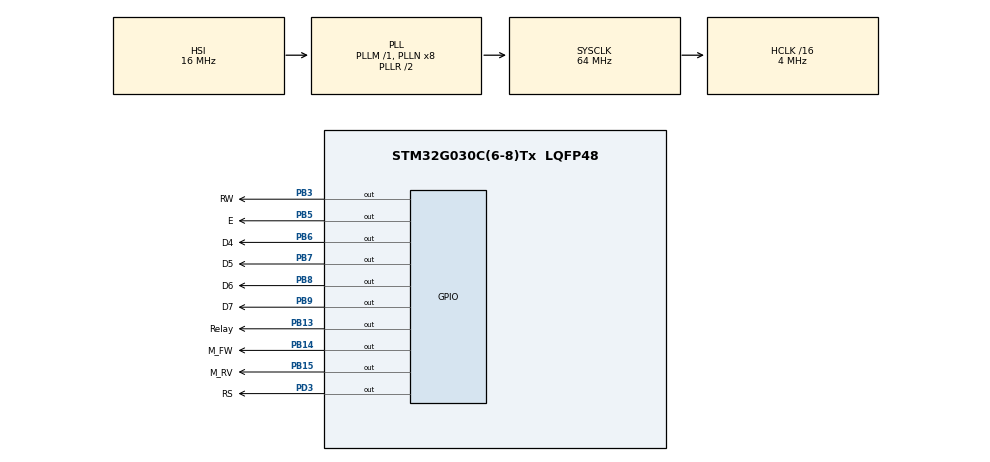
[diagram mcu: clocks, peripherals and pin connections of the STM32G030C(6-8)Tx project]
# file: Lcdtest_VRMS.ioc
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ADC1.Channel-4\#ChannelRegularConversion=ADC_CHANNEL_VBAT
ADC1.NbrOfConversionFlag=1
ADC1.Rank-4\#ChannelRegularConversion=1
ADC1.SamplingTime-4\#ChannelRegularConversion=ADC_SAMPLINGTIME_COMMON_1
ADC1.SamplingTimeCommon1=ADC_SAMPLETIME_19CYCLES_5
ADC1.SelectedChannel=ADC_CHANNEL_VBAT
ADC1.master=1
Mcu.Family=STM32G0
Mcu.Name=STM32G030C(6-8)Tx
Mcu.Package=LQFP48
PA13.Mode=Serial_Wire
PA13.Signal=SYS_SWDIO
PA14-BOOT0.Mode=Serial_Wire
PA14-BOOT0.Signal=SYS_SWCLK
PB13.GPIO_Label=Relay
PB13.GPIO_PuPd=GPIO_PULLDOWN
PB13.Signal=GPIO_Output
PB14.GPIO_Label=M_FW
PB14.GPIO_PuPd=GPIO_PULLDOWN
PB14.Signal=GPIO_Output
PB15.GPIO_Label=M_RV
PB15.GPIO_PuPd=GPIO_PULLDOWN
PB15.Signal=GPIO_Output
PB3.GPIO_Label=RW
PB3.Signal=GPIO_Output
PB5.GPIO_Label=E
PB5.Signal=GPIO_Output
PB6.GPIO_Label=D4
PB6.Signal=GPIO_Output
PB7.GPIO_Label=D5
PB7.Signal=GPIO_Output
PB8.GPIO_Label=D6
PB8.Signal=GPIO_Output
PB9.GPIO_Label=D7
PB9.Signal=GPIO_Output
PD3.GPIO_Label=RS
PD3.Signal=GPIO_Output
ProjectManager.HeapSize=0x200
ProjectManager.StackSize=0x400
ProjectManager.TargetToolchain=STM32CubeIDE
RCC.ADCFreq_Value=64000000
RCC.AHBCLKDivider=RCC_SYSCLK_DIV16
RCC.AHBFreq_Value=4000000
RCC.CortexFreq_Value=4000000
RCC.EXTERNAL_CLOCK_VALUE=12288000
RCC.HCLKFreq_Value=4000000
RCC.HSE_VALUE=8000000
RCC.HSI_VALUE=16000000
RCC.LSE_VALUE=32768
RCC.SYSCLKFreq_VALUE=64000000
RCC.SYSCLKSource=RCC_SYSCLKSOURCE_PLLCLK
RCC.VCOOutputFreq_Value=128000000
TIM1.Prescaler=64-1
VP_ADC1_Vbat_Input.Mode=IN-Vbat
VP_TIM1_VS_ClockSourceINT.Mode=Internal
board=custom

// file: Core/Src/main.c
/* USER CODE BEGIN Header */
/**
  ******************************************************************************
  * @file           : main.c
  * @brief          : Main program body
  ******************************************************************************
  * @attention
  *
  * Copyright (c) 2023 STMicroelectronics.
  * All rights reserved.
  *
  * This software is licensed under terms that can be found in the LICENSE file
  * in the root directory of this software component.
  * If no LICENSE file comes with this software, it is provided AS-IS.
  *
  ******************************************************************************
  */
/* USER CODE END Header */
#include "main.h"

/* USER CODE BEGIN Includes */
#include"lcd1.h"
/* USER CODE END Includes */

/* USER CODE BEGIN PTD */
//VRMS
#define fact_val 3
#define fact_val_addr *((uint16_t*)0x1FFF75AA)
#define Reso 4095
#define no_of_samples 300
#define DMA_Time_Out 100
#define NumOfADCChan 3
#define EachChanSample 100

/* USER CODE END PTD */

ADC_HandleTypeDef hadc1;

TIM_HandleTypeDef htim1;

/* USER CODE BEGIN PV */

//VRMS
typedef enum
{
	Fun_Ok, //Represents FADC status that it is OK
	Fun_Error, //Represents FADC Error
	Fun_Timeout //Represents that FADC is timed out
}Fun_Status;
typedef enum
{
	ADC_DMA_Init,
	ADC_DMA_Started,
	ADC_DMA_Completed
}ADC_DMA_Status;

typedef struct{
	float Vref;
	float K;
	float DCoffset;
	ADC_DMA_Status StatusDMA;
	ADC_HandleTypeDef* HADC;
	uint16_t ADC_DMA_Sample[NumOfADCChan*EachChanSample];
}ADCPar;

//G Variables
ADCPar ADCVar;
/* USER CODE END PV */

void SystemClock_Config(void);
static void MX_GPIO_Init(void);
static void MX_TIM1_Init(void);
static void MX_ADC1_Init(void);

/* USER CODE BEGIN 0 */
void Vrefint_init(ADC_HandleTypeDef* HADC)
{

  /* USER CODE BEGIN ADC1_Init 0 */

  /* USER CODE END ADC1_Init 0 */

  ADC_ChannelConfTypeDef sConfig = {0};

  /* USER CODE BEGIN ADC1_Init 1 */

  /* USER CODE END ADC1_Init 1 */

  /** Configure the global features of the ADC (Clock, Resolution, Data Alignment and number of conversion)
  */
  HADC->Instance = ADC1;
  HADC->Init.ClockPrescaler = ADC_CLOCK_SYNC_PCLK_DIV2;
  HADC->Init.Resolution = ADC_RESOLUTION_12B;
  HADC->Init.DataAlign = ADC_DATAALIGN_RIGHT;
  HADC->Init.ScanConvMode = ADC_SCAN_DISABLE;
  HADC->Init.EOCSelection = ADC_EOC_SINGLE_CONV;
  HADC->Init.LowPowerAutoWait = DISABLE;
  HADC->Init.LowPowerAutoPowerOff = DISABLE;
  HADC->Init.ContinuousConvMode = DISABLE;
  HADC->Init.NbrOfConversion = 1;
  HADC->Init.DiscontinuousConvMode = DISABLE;
  HADC->Init.ExternalTrigConv = ADC_SOFTWARE_START;
  HADC->Init.ExternalTrigConvEdge = ADC_EXTERNALTRIGCONVEDGE_NONE;
  HADC->Init.DMAContinuousRequests = DISABLE;
  HADC->Init.Overrun = ADC_OVR_DATA_PRESERVED;
  HADC->Init.SamplingTimeCommon1 = ADC_SAMPLETIME_1CYCLE_5;
  HADC->Init.SamplingTimeCommon2 = ADC_SAMPLETIME_1CYCLE_5;
  HADC->Init.OversamplingMode = DISABLE;
  HADC->Init.TriggerFrequencyMode = ADC_TRIGGER_FREQ_HIGH;
  if (HAL_ADC_Init(&hadc1) != HAL_OK)
  {

  }

  /** Configure Regular Channel
  */
  sConfig.Channel = ADC_CHANNEL_VREFINT;
  sConfig.Rank = ADC_REGULAR_RANK_1;
  sConfig.SamplingTime = ADC_SAMPLINGTIME_COMMON_1;
  if (HAL_ADC_ConfigChannel(&hadc1, &sConfig) != HAL_OK)
  {

  }
  /* USER CODE BEGIN ADC1_Init 2 */

  /* USER CODE END ADC1_Init 2 */

}

Fun_Status GetVref(ADCPar * ADCValues)
{
//	  Vrefint_init(ADCValues->HADC);
	MX_ADC1_Init();
	  if(HAL_ADC_Start(ADCValues->HADC) != HAL_OK)
	  {
		return Fun_Error;
	  }
	  if(HAL_ADC_PollForConversion(ADCValues->HADC, HAL_MAX_DELAY) != HAL_OK)
	  {
		  return Fun_Error;
	  }
	  ADCValues->Vref = HAL_ADC_GetValue(ADCValues->HADC);
	  if(HAL_ADC_Stop(ADCValues->HADC) != HAL_OK)
	  {
		  return Fun_Error;
	  }
	  ADCValues->Vref =(fact_val * fact_val_addr)/ADCValues->Vref;
	  ADCValues->K=ADCValues->Vref/Reso;
	  //3 channel init
	  MX_ADC1_Init();
	  return Fun_Ok;
}
//

/* USER CODE END 0 */

int main(void)
{

  /* MCU Configuration--------------------------------------------------------*/

  /* Reset of all peripherals, Initializes the Flash interface and the Systick. */
  HAL_Init();

  /* Configure the system clock */
  SystemClock_Config();

  /* Initialize all configured peripherals */
  MX_GPIO_Init();
  MX_TIM1_Init();
  MX_ADC1_Init();
  /* USER CODE BEGIN 2 */
  //VRMS Setting the value for VRMS Variables
//  ADCVar.HADC = &hadc1;
  HAL_Delay(10);
  HAL_ADCEx_Calibration_Start(&hadc1);
  HAL_Delay(10);
  LCD_Init();
//  GetVref(&ADCVar);
  if(HAL_ADC_Start(&hadc1) != HAL_OK)
  {
	return Fun_Error;
  }
  if(HAL_ADC_PollForConversion(&hadc1, HAL_MAX_DELAY) != HAL_OK)
  {
	  return Fun_Error;
  }
  ADCVar.Vref = HAL_ADC_GetValue(&hadc1);
  if(HAL_ADC_Stop(&hadc1) != HAL_OK)
  {
	  return Fun_Error;
  }
  ADCVar.Vref =(1.2f * Reso)/ADCVar.Vref;
//  ADCVar.K=(ADCVar.Vref)/Reso;
//
  LCD_Clear();
//  LCD_SetCursor(0, 0);
//  LCD_Print("Hello, STM32!");

//HAL_GPIO_WritePin(M_RV_GPIO_Port, M_RV_Pin, GPIO_PIN_RESET);
//HAL_GPIO_WritePin(M_FW_GPIO_Port, M_FW_Pin, GPIO_PIN_SET);
//  HAL_GPIO_WritePin(M_RV_GPIO_Port, M_RV_Pin, GPIO_PIN_SET);
  /* USER CODE END 2 */

  /* Infinite loop */
  while (1)
  {

    /* USER CODE BEGIN 3 */
	  HAL_GPIO_WritePin(GPIOB, GPIO_PIN_9, GPIO_PIN_RESET);
	  HAL_GPIO_WritePin(M_RV_GPIO_Port, M_RV_Pin, GPIO_PIN_RESET);
	  HAL_GPIO_WritePin(M_FW_GPIO_Port, M_FW_Pin, GPIO_PIN_SET);
	  //HAL_GPIO_TogglePin(Relay_GPIO_Port, Relay_Pin);
	  LCD_Clear();
	  LCD_SetCursor(0, 0);
	  LCD_Print("Hello, STM32!");
	  LCD_SetCursor(1, 0);
	  LCD_Printf("Vrf_= %d",(uint8_t)(ADCVar.Vref*10));
	  HAL_Delay(5000);
//	  for(uint32_t id =0;id<=20000;id++)
//	  {
//
//	  }
	  HAL_GPIO_WritePin(GPIOB, GPIO_PIN_9, GPIO_PIN_SET);
	  HAL_GPIO_WritePin(M_RV_GPIO_Port, M_RV_Pin, GPIO_PIN_SET);
	  HAL_GPIO_WritePin(M_FW_GPIO_Port, M_FW_Pin, GPIO_PIN_RESET);
	  for(uint32_t id =0;id<=20000;id++)
	  {

	  }
	  HAL_GPIO_TogglePin(Relay_GPIO_Port, Relay_Pin);
	  LCD_Clear();
	  LCD_SetCursor(0, 0);
	  LCD_Print("_!@#$%^^&*)_");
	  LCD_SetCursor(1, 0);
	  LCD_Print("_+&%#@&_");
	  HAL_Delay(5000);

  }
  /* USER CODE END 3 */
}

void SystemClock_Config(void)
{
  RCC_OscInitTypeDef RCC_OscInitStruct = {0};
  RCC_ClkInitTypeDef RCC_ClkInitStruct = {0};

  /** Configure the main internal regulator output voltage
  */
  HAL_PWREx_ControlVoltageScaling(PWR_REGULATOR_VOLTAGE_SCALE1);

  /** Initializes the RCC Oscillators according to the specified parameters
  * in the RCC_OscInitTypeDef structure.
  */
  RCC_OscInitStruct.OscillatorType = RCC_OSCILLATORTYPE_HSI;
  RCC_OscInitStruct.HSIState = RCC_HSI_ON;
  RCC_OscInitStruct.HSIDiv = RCC_HSI_DIV1;
  RCC_OscInitStruct.HSICalibrationValue = RCC_HSICALIBRATION_DEFAULT;
  RCC_OscInitStruct.PLL.PLLState = RCC_PLL_ON;
  RCC_OscInitStruct.PLL.PLLSource = RCC_PLLSOURCE_HSI;
  RCC_OscInitStruct.PLL.PLLM = RCC_PLLM_DIV1;
  RCC_OscInitStruct.PLL.PLLN = 8;
  RCC_OscInitStruct.PLL.PLLP = RCC_PLLP_DIV2;
  RCC_OscInitStruct.PLL.PLLR = RCC_PLLR_DIV2;
  if (HAL_RCC_OscConfig(&RCC_OscInitStruct) != HAL_OK)
  {
    Error_Handler();
  }

  /** Initializes the CPU, AHB and APB buses clocks
  */
  RCC_ClkInitStruct.ClockType = RCC_CLOCKTYPE_HCLK|RCC_CLOCKTYPE_SYSCLK
                              |RCC_CLOCKTYPE_PCLK1;
  RCC_ClkInitStruct.SYSCLKSource = RCC_SYSCLKSOURCE_PLLCLK;
  RCC_ClkInitStruct.AHBCLKDivider = RCC_SYSCLK_DIV16;
  RCC_ClkInitStruct.APB1CLKDivider = RCC_HCLK_DIV1;

  if (HAL_RCC_ClockConfig(&RCC_ClkInitStruct, FLASH_LATENCY_0) != HAL_OK)
  {
    Error_Handler();
  }
}

static void MX_ADC1_Init(void)
{

  ADC_ChannelConfTypeDef sConfig = {0};

  /** Configure the global features of the ADC (Clock, Resolution, Data Alignment and number of conversion)
  */
  hadc1.Instance = ADC1;
  hadc1.Init.ClockPrescaler = ADC_CLOCK_SYNC_PCLK_DIV2;
  hadc1.Init.Resolution = ADC_RESOLUTION_12B;
  hadc1.Init.DataAlign = ADC_DATAALIGN_RIGHT;
  hadc1.Init.ScanConvMode = ADC_SCAN_DISABLE;
  hadc1.Init.EOCSelection = ADC_EOC_SINGLE_CONV;
  hadc1.Init.LowPowerAutoWait = DISABLE;
  hadc1.Init.LowPowerAutoPowerOff = DISABLE;
  hadc1.Init.ContinuousConvMode = DISABLE;
  hadc1.Init.NbrOfConversion = 1;
  hadc1.Init.DiscontinuousConvMode = DISABLE;
  hadc1.Init.ExternalTrigConv = ADC_SOFTWARE_START;
  hadc1.Init.ExternalTrigConvEdge = ADC_EXTERNALTRIGCONVEDGE_NONE;
  hadc1.Init.DMAContinuousRequests = DISABLE;
  hadc1.Init.Overrun = ADC_OVR_DATA_PRESERVED;
  hadc1.Init.SamplingTimeCommon1 = ADC_SAMPLETIME_19CYCLES_5;
  hadc1.Init.SamplingTimeCommon2 = ADC_SAMPLETIME_1CYCLE_5;
  hadc1.Init.OversamplingMode = DISABLE;
  hadc1.Init.TriggerFrequencyMode = ADC_TRIGGER_FREQ_HIGH;
  if (HAL_ADC_Init(&hadc1) != HAL_OK)
  {
    Error_Handler();
  }

  /** Configure Regular Channel
  */
  sConfig.Channel = ADC_CHANNEL_VBAT;
  sConfig.Rank = ADC_REGULAR_RANK_1;
  sConfig.SamplingTime = ADC_SAMPLINGTIME_COMMON_1;
  if (HAL_ADC_ConfigChannel(&hadc1, &sConfig) != HAL_OK)
  {
    Error_Handler();
  }

}

static void MX_TIM1_Init(void)
{

  TIM_ClockConfigTypeDef sClockSourceConfig = {0};
  TIM_MasterConfigTypeDef sMasterConfig = {0};

  htim1.Instance = TIM1;
  htim1.Init.Prescaler = 64-1;
  htim1.Init.CounterMode = TIM_COUNTERMODE_UP;
  htim1.Init.Period = 65535;
  htim1.Init.ClockDivision = TIM_CLOCKDIVISION_DIV1;
  htim1.Init.RepetitionCounter = 0;
  htim1.Init.AutoReloadPreload = TIM_AUTORELOAD_PRELOAD_DISABLE;
  if (HAL_TIM_Base_Init(&htim1) != HAL_OK)
  {
    Error_Handler();
  }
  sClockSourceConfig.ClockSource = TIM_CLOCKSOURCE_INTERNAL;
  if (HAL_TIM_ConfigClockSource(&htim1, &sClockSourceConfig) != HAL_OK)
  {
    Error_Handler();
  }
  sMasterConfig.MasterOutputTrigger = TIM_TRGO_RESET;
  sMasterConfig.MasterOutputTrigger2 = TIM_TRGO2_RESET;
  sMasterConfig.MasterSlaveMode = TIM_MASTERSLAVEMODE_DISABLE;
  if (HAL_TIMEx_MasterConfigSynchronization(&htim1, &sMasterConfig) != HAL_OK)
  {
    Error_Handler();
  }

}

static void MX_GPIO_Init(void)
{
  GPIO_InitTypeDef GPIO_InitStruct = {0};

  /* GPIO Ports Clock Enable */
  __HAL_RCC_GPIOB_CLK_ENABLE();
  __HAL_RCC_GPIOA_CLK_ENABLE();
  __HAL_RCC_GPIOD_CLK_ENABLE();

  /*Configure GPIO pin Output Level */
  HAL_GPIO_WritePin(GPIOB, Relay_Pin|M_FW_Pin|M_RV_Pin|RW_Pin
                          |E_Pin|D4_Pin|D5_Pin|D6_Pin
                          |D7_Pin, GPIO_PIN_RESET);

  /*Configure GPIO pin Output Level */
  HAL_GPIO_WritePin(RS_GPIO_Port, RS_Pin, GPIO_PIN_RESET);

  /*Configure GPIO pins : Relay_Pin M_FW_Pin M_RV_Pin */
  GPIO_InitStruct.Pin = Relay_Pin|M_FW_Pin|M_RV_Pin;
  GPIO_InitStruct.Mode = GPIO_MODE_OUTPUT_PP;
  GPIO_InitStruct.Pull = GPIO_PULLDOWN;
  GPIO_InitStruct.Speed = GPIO_SPEED_FREQ_LOW;
  HAL_GPIO_Init(GPIOB, &GPIO_InitStruct);

  /*Configure GPIO pin : RS_Pin */
  GPIO_InitStruct.Pin = RS_Pin;
  GPIO_InitStruct.Mode = GPIO_MODE_OUTPUT_PP;
  GPIO_InitStruct.Pull = GPIO_NOPULL;
  GPIO_InitStruct.Speed = GPIO_SPEED_FREQ_LOW;
  HAL_GPIO_Init(RS_GPIO_Port, &GPIO_InitStruct);

  /*Configure GPIO pins : RW_Pin E_Pin D4_Pin D5_Pin
                           D6_Pin D7_Pin */
  GPIO_InitStruct.Pin = RW_Pin|E_Pin|D4_Pin|D5_Pin
                          |D6_Pin|D7_Pin;
  GPIO_InitStruct.Mode = GPIO_MODE_OUTPUT_PP;
  GPIO_InitStruct.Pull = GPIO_NOPULL;
  GPIO_InitStruct.Speed = GPIO_SPEED_FREQ_LOW;
  HAL_GPIO_Init(GPIOB, &GPIO_InitStruct);

}

void Error_Handler(void)
{
  __disable_irq();
  while (1)
  {
  }
}
